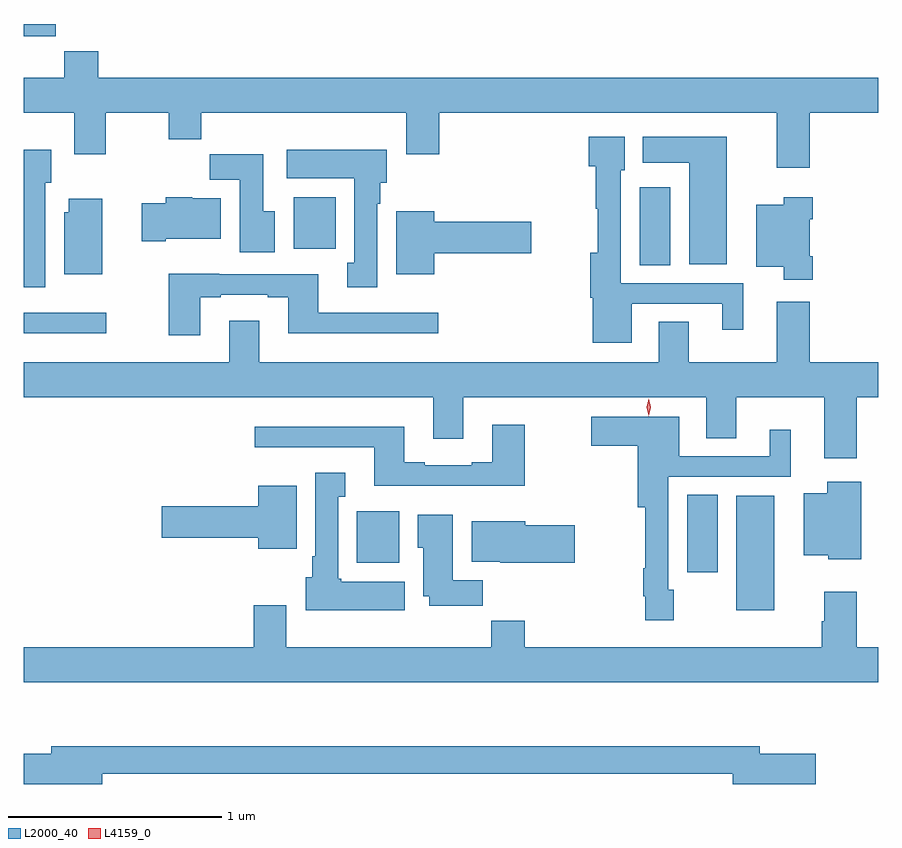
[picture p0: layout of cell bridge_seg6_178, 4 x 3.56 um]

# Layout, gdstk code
import gdstk
lib = gdstk.Library(unit=1e-6, precision=1e-09)
def R(c, l, rs):  # rectangles x0, y0, x1, y1
    for r in rs: c.add(gdstk.rectangle(r[:2], r[2:], *l))
def P(c, l, *ps):  # polygons
    for p in ps: c.add(gdstk.Polygon(p, *l))
L2000_40 = (2000, 40)
L4159_0 = (4159, 0)

bridge_seg6_178 = lib.new_cell('bridge_seg6_178')
R(bridge_seg6_178, L2000_40, [(278.804,984.968,278.98,985.504), (278.573,985.146,278.716,985.508), (277.028,985.19,277.225,985.432), (275.468,986.264,275.854,986.361), (278.351,986.584,278.494,986.947), (276.731,986.66,276.928,986.902), (275.468,987.654,275.618,987.712)])
P(bridge_seg6_178, L2000_40, [(279.146,987.296),(279.468,987.296),(279.468,987.46),(275.816,987.46),(275.816,987.584),(275.659,987.584),(275.659,987.46),(275.468,987.46),(275.468,987.296),(275.705,987.296),(275.705,987.102),(275.853,987.102),(275.853,987.296),(276.148,987.296),(276.148,987.172),(276.299,987.172),(276.299,987.296),(277.259,987.296),(277.259,987.102),(277.412,987.102),(277.412,987.296),(278.993,987.296),(278.993,987.039),(279.146,987.039)],
  [(278.314,986.403),(278.738,986.403),(278.738,986.28),(278.836,986.28),(278.836,986.499),(278.262,986.499),(278.262,987.027),(278.281,987.027),(278.281,987.184),(278.112,987.184),(278.112,987.046),(278.146,987.046),(278.146,986.847),(278.154,986.847),(278.154,986.641),(278.12,986.641),(278.12,986.43),(278.132,986.43),(278.132,986.219),(278.314,986.219)],
  [(278.758,987.184),(278.366,987.184),(278.366,987.062),(278.582,987.062),(278.582,986.588),(278.758,986.588)],
  [(277.123,986.87),(277.138,986.87),(277.138,986.97),(277.168,986.97),(277.168,987.124),(276.699,987.124),(276.699,986.99),(277.016,986.99),(277.016,986.594),(276.983,986.594),(276.983,986.481),(277.123,986.481)],
  [(275.569,986.97),(275.596,986.97),(275.596,987.124),(275.468,987.124),(275.468,986.481),(275.569,986.481)],
  [(276.643,986.836),(276.589,986.836),(276.589,987.103),(276.34,987.103),(276.34,986.984),(276.479,986.984),(276.479,986.643),(276.643,986.643)],
  [(279.161,986.626),(279.148,986.626),(279.148,986.798),(279.161,986.798),(279.161,986.902),(279.026,986.902),(279.026,986.866),(278.897,986.866),(278.897,986.576),(279.026,986.576),(279.026,986.514),(279.161,986.514)],
  [(276.133,986.708),(276.391,986.708),(276.391,986.896),(276.258,986.896),(276.258,986.902),(276.133,986.902),(276.133,986.874),(276.021,986.874),(276.021,986.696),(276.133,986.696)],
  [(275.836,986.893),(275.678,986.893),(275.678,986.832),(275.657,986.832),(275.657,986.54),(275.836,986.54)],
  [(277.39,986.639),(277.843,986.639),(277.843,986.786),(277.39,986.786),(277.39,986.836),(277.211,986.836),(277.211,986.54),(277.39,986.54)],
  [(276.295,986.433),(276.391,986.433),(276.391,986.445),(276.611,986.445),(276.611,986.433),(276.707,986.433),(276.707,986.264),(277.408,986.264),(277.408,986.361),(276.847,986.361),(276.847,986.541),(276.383,986.541),(276.383,986.542),(276.148,986.542),(276.148,986.256),(276.295,986.256)],
  [(279.368,985.964),(279.468,985.964),(279.468,986.128),(279.146,986.128),(279.146,986.413),(278.993,986.413),(278.993,986.128),(278.581,986.128),(278.581,986.318),(278.441,986.318),(278.441,986.128),(276.571,986.128),(276.571,986.323),(276.431,986.323),(276.431,986.128),(275.468,986.128),(275.468,985.964),(277.385,985.964),(277.385,985.77),(277.525,985.77),(277.525,985.964),(278.663,985.964),(278.663,985.774),(278.803,985.774),(278.803,985.964),(279.215,985.964),(279.215,985.68),(279.368,985.68)],
  [(278.511,985.065),(278.484,985.065),(278.484,985.593),(279.058,985.593),(279.058,985.813),(278.96,985.813),(278.96,985.689),(278.536,985.689),(278.536,985.873),(278.124,985.873),(278.124,985.739),(278.342,985.739),(278.342,985.451),(278.376,985.451),(278.376,985.165),(278.368,985.165),(278.368,985.033),(278.376,985.033),(278.376,984.921),(278.511,984.921)],
  [(277.814,985.837),(277.661,985.837),(277.661,985.66),(277.565,985.66),(277.565,985.647),(277.345,985.647),(277.345,985.66),(277.249,985.66),(277.249,985.828),(276.549,985.828),(276.549,985.731),(277.109,985.731),(277.109,985.55),(277.814,985.55)],
  [(277.252,985.102),(276.954,985.102),(276.954,985.116),(276.94,985.116),(276.94,985.499),(276.973,985.499),(276.973,985.612),(276.833,985.612),(276.833,985.222),(276.818,985.222),(276.818,985.122),(276.788,985.122),(276.788,984.968),(277.252,984.968)],
  [(279.388,985.57),(279.23,985.57),(279.23,985.516),(279.119,985.516),(279.119,985.226),(279.234,985.226),(279.234,985.208),(279.388,985.208)],
  [(276.745,985.552),(276.566,985.552),(276.566,985.454),(276.114,985.454),(276.114,985.307),(276.566,985.307),(276.566,985.256),(276.745,985.256)],
  [(277.616,985.108),(277.477,985.108),(277.477,985.414),(277.313,985.414),(277.313,985.26),(277.337,985.26),(277.337,985.034),(277.367,985.034),(277.367,984.99),(277.616,984.99)],
  [(278.047,985.367),(277.816,985.367),(277.816,985.384),(277.565,985.384),(277.565,985.196),(277.698,985.196),(277.698,985.19),(278.047,985.19)],
  [(279.468,984.796),(279.368,984.796),(279.368,985.054),(279.215,985.054),(279.215,984.917),(279.203,984.917),(279.203,984.796),(277.814,984.796),(277.814,984.92),(277.657,984.92),(277.657,984.796),(276.697,984.796),(276.697,984.991),(276.545,984.991),(276.545,984.796),(275.468,984.796),(275.468,984.632),(279.468,984.632)],
  [(275.836,984.202),(278.786,984.202),(278.786,984.155),(279.175,984.155),(279.175,984.297),(278.914,984.297),(278.914,984.331),(275.597,984.331),(275.597,984.297),(275.468,984.297),(275.468,984.155),(275.836,984.155)])
P(bridge_seg6_178, L4159_0, [(278.394,985.877),(278.394,985.878),(278.384,985.918),(278.394,985.959),(278.394,985.959),(278.394,985.959),(278.404,985.918),(278.394,985.878)])

lib.write_gds('bridge_seg6_178.gds')
